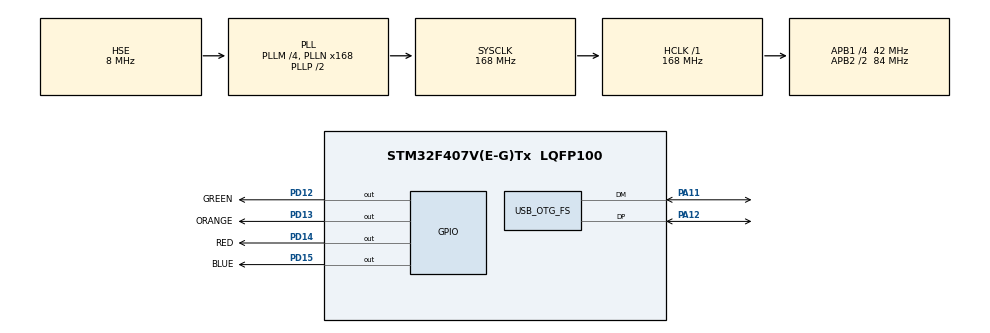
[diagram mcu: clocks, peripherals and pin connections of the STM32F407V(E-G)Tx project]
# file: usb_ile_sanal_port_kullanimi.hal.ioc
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Mcu.Family=STM32F4
Mcu.Name=STM32F407V(E-G)Tx
Mcu.Package=LQFP100
NVIC.OTG_FS_IRQn=true\:0\:0\:false\:false\:true\:false\:true\:true
NVIC.PriorityGroup=NVIC_PRIORITYGROUP_4
PA11.Mode=Device_Only
PA11.Signal=USB_OTG_FS_DM
PA12.Mode=Device_Only
PA12.Signal=USB_OTG_FS_DP
PA13.Mode=Serial_Wire
PA13.Signal=SYS_JTMS-SWDIO
PA14.Mode=Serial_Wire
PA14.Signal=SYS_JTCK-SWCLK
PD12.GPIO_Label=GREEN
PD12.Signal=GPIO_Output
PD13.GPIO_Label=ORANGE
PD13.Signal=GPIO_Output
PD14.GPIO_Label=RED
PD14.Signal=GPIO_Output
PD15.GPIO_Label=BLUE
PD15.Signal=GPIO_Output
PH0-OSC_IN.Mode=HSE-External-Oscillator
PH0-OSC_IN.Signal=RCC_OSC_IN
PH1-OSC_OUT.Mode=HSE-External-Oscillator
PH1-OSC_OUT.Signal=RCC_OSC_OUT
ProjectManager.HeapSize=0x200
ProjectManager.StackSize=0x400
ProjectManager.TargetToolchain=STM32CubeIDE
RCC.48MHZClocksFreq_Value=48000000
RCC.AHBFreq_Value=168000000
RCC.APB1CLKDivider=RCC_HCLK_DIV4
RCC.APB1Freq_Value=42000000
RCC.APB1TimFreq_Value=84000000
RCC.APB2CLKDivider=RCC_HCLK_DIV2
RCC.APB2Freq_Value=84000000
RCC.APB2TimFreq_Value=168000000
RCC.CortexFreq_Value=168000000
RCC.HCLKFreq_Value=168000000
RCC.HSE_VALUE=8000000
RCC.HSI_VALUE=16000000
RCC.LSE_VALUE=32768
RCC.PLLM=4
RCC.PLLN=168
RCC.PLLQ=7
RCC.SYSCLKFreq_VALUE=168000000
RCC.SYSCLKSource=RCC_SYSCLKSOURCE_PLLCLK
RCC.VCOOutputFreq_Value=336000000
USB_DEVICE.CLASS_NAME_FS=CDC
USB_DEVICE.VirtualMode-CDC_FS=Cdc
USB_DEVICE.VirtualModeFS=Cdc_FS
USB_OTG_FS.VirtualMode=Device_Only
VP_USB_DEVICE_VS_USB_DEVICE_CDC_FS.Mode=CDC_FS
board=custom

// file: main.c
/* USER CODE BEGIN Header */
/**
  ******************************************************************************
  * @file           : main.c
  * @brief          : Main program body
  ******************************************************************************
  * @attention
  *
  * Copyright (c) 2023 STMicroelectronics.
  * All rights reserved.
  *
  * This software is licensed under terms that can be found in the LICENSE file
  * in the root directory of this software component.
  * If no LICENSE file comes with this software, it is provided AS-IS.
  *
  ******************************************************************************
  */
/* USER CODE END Header */
#include "main.h"
#include "usb_device.h"

/* USER CODE BEGIN Includes */
#include "usbd_cdc_if.h"
#include "string.h"
/* USER CODE END Includes */

void SystemClock_Config(void);
static void MX_GPIO_Init(void);

/* USER CODE BEGIN 0 */
char tx_buff[30];
char rx_buff[1];
/* USER CODE END 0 */

int main(void)
{

  /* MCU Configuration--------------------------------------------------------*/

  /* Reset of all peripherals, Initializes the Flash interface and the Systick. */
  HAL_Init();

  /* Configure the system clock */
  SystemClock_Config();

  /* Initialize all configured peripherals */
  MX_GPIO_Init();
  MX_USB_DEVICE_Init();

  /* Infinite loop */
  while (1)
  {

    /* USER CODE BEGIN 3 */
      if(rx_buff[0]=='1'){
          HAL_GPIO_WritePin(GPIOD, GREEN_Pin, GPIO_PIN_SET);
          HAL_GPIO_WritePin(GPIOD, ORANGE_Pin, GPIO_PIN_RESET);
          HAL_GPIO_WritePin(GPIOD, RED_Pin, GPIO_PIN_RESET);
          HAL_GPIO_WritePin(GPIOD, BLUE_Pin, GPIO_PIN_RESET);
          sprintf(tx_buff,"Yesil Led Acik\n");
          CDC_Transmit_FS(tx_buff, strlen(tx_buff));
      }
      else if(rx_buff[0]=='2'){
          HAL_GPIO_WritePin(GPIOD, GREEN_Pin, GPIO_PIN_RESET);
          HAL_GPIO_WritePin(GPIOD, ORANGE_Pin, GPIO_PIN_SET);
          HAL_GPIO_WritePin(GPIOD, RED_Pin, GPIO_PIN_RESET);
          HAL_GPIO_WritePin(GPIOD, BLUE_Pin, GPIO_PIN_RESET);
          sprintf(tx_buff,"Turuncu Led Acik\n");
          CDC_Transmit_FS(tx_buff, strlen(tx_buff));
      }
      else if(rx_buff[0]=='3'){
          HAL_GPIO_WritePin(GPIOD, GREEN_Pin, GPIO_PIN_RESET);
          HAL_GPIO_WritePin(GPIOD, ORANGE_Pin, GPIO_PIN_RESET);
          HAL_GPIO_WritePin(GPIOD, RED_Pin, GPIO_PIN_SET);
          HAL_GPIO_WritePin(GPIOD, BLUE_Pin, GPIO_PIN_RESET);
          sprintf(tx_buff,"Kirmizi Led Acik\n");
          CDC_Transmit_FS(tx_buff, strlen(tx_buff));
      }
      else if(rx_buff[0]=='4'){
          HAL_GPIO_WritePin(GPIOD, GREEN_Pin, GPIO_PIN_RESET);
          HAL_GPIO_WritePin(GPIOD, ORANGE_Pin, GPIO_PIN_RESET);
          HAL_GPIO_WritePin(GPIOD, RED_Pin, GPIO_PIN_RESET);
          HAL_GPIO_WritePin(GPIOD, BLUE_Pin, GPIO_PIN_SET);
          sprintf(tx_buff,"Mavi Led Acik\n");
          CDC_Transmit_FS(tx_buff, strlen(tx_buff));
      }
      else if(rx_buff[0]=='5'){
    	  HAL_GPIO_WritePin(GPIOD, GREEN_Pin|ORANGE_Pin|RED_Pin|BLUE_Pin, GPIO_PIN_SET);
          sprintf(tx_buff,"Tum Ledler Acik\n");
          CDC_Transmit_FS(tx_buff, strlen(tx_buff));
      }
      else{
    	  HAL_GPIO_WritePin(GPIOD, GREEN_Pin|ORANGE_Pin|RED_Pin|BLUE_Pin, GPIO_PIN_RESET);
          sprintf(tx_buff,"Tum Ledler Kapali\n");
          CDC_Transmit_FS(tx_buff, strlen(tx_buff));
      }
      HAL_Delay(1000);
  }
  /* USER CODE END 3 */
}

void SystemClock_Config(void)
{
  RCC_OscInitTypeDef RCC_OscInitStruct = {0};
  RCC_ClkInitTypeDef RCC_ClkInitStruct = {0};

  /** Configure the main internal regulator output voltage
  */
  __HAL_RCC_PWR_CLK_ENABLE();
  __HAL_PWR_VOLTAGESCALING_CONFIG(PWR_REGULATOR_VOLTAGE_SCALE1);

  /** Initializes the RCC Oscillators according to the specified parameters
  * in the RCC_OscInitTypeDef structure.
  */
  RCC_OscInitStruct.OscillatorType = RCC_OSCILLATORTYPE_HSE;
  RCC_OscInitStruct.HSEState = RCC_HSE_ON;
  RCC_OscInitStruct.PLL.PLLState = RCC_PLL_ON;
  RCC_OscInitStruct.PLL.PLLSource = RCC_PLLSOURCE_HSE;
  RCC_OscInitStruct.PLL.PLLM = 4;
  RCC_OscInitStruct.PLL.PLLN = 168;
  RCC_OscInitStruct.PLL.PLLP = RCC_PLLP_DIV2;
  RCC_OscInitStruct.PLL.PLLQ = 7;
  if (HAL_RCC_OscConfig(&RCC_OscInitStruct) != HAL_OK)
  {
    Error_Handler();
  }

  /** Initializes the CPU, AHB and APB buses clocks
  */
  RCC_ClkInitStruct.ClockType = RCC_CLOCKTYPE_HCLK|RCC_CLOCKTYPE_SYSCLK
                              |RCC_CLOCKTYPE_PCLK1|RCC_CLOCKTYPE_PCLK2;
  RCC_ClkInitStruct.SYSCLKSource = RCC_SYSCLKSOURCE_PLLCLK;
  RCC_ClkInitStruct.AHBCLKDivider = RCC_SYSCLK_DIV1;
  RCC_ClkInitStruct.APB1CLKDivider = RCC_HCLK_DIV4;
  RCC_ClkInitStruct.APB2CLKDivider = RCC_HCLK_DIV2;

  if (HAL_RCC_ClockConfig(&RCC_ClkInitStruct, FLASH_LATENCY_5) != HAL_OK)
  {
    Error_Handler();
  }
}

static void MX_GPIO_Init(void)
{
  GPIO_InitTypeDef GPIO_InitStruct = {0};

  /* GPIO Ports Clock Enable */
  __HAL_RCC_GPIOH_CLK_ENABLE();
  __HAL_RCC_GPIOD_CLK_ENABLE();
  __HAL_RCC_GPIOA_CLK_ENABLE();

  /*Configure GPIO pin Output Level */
  HAL_GPIO_WritePin(GPIOD, GREEN_Pin|ORANGE_Pin|RED_Pin|BLUE_Pin, GPIO_PIN_RESET);

  /*Configure GPIO pins : GREEN_Pin ORANGE_Pin RED_Pin BLUE_Pin */
  GPIO_InitStruct.Pin = GREEN_Pin|ORANGE_Pin|RED_Pin|BLUE_Pin;
  GPIO_InitStruct.Mode = GPIO_MODE_OUTPUT_PP;
  GPIO_InitStruct.Pull = GPIO_NOPULL;
  GPIO_InitStruct.Speed = GPIO_SPEED_FREQ_LOW;
  HAL_GPIO_Init(GPIOD, &GPIO_InitStruct);

}

void Error_Handler(void)
{
  __disable_irq();
  while (1)
  {
  }
}
